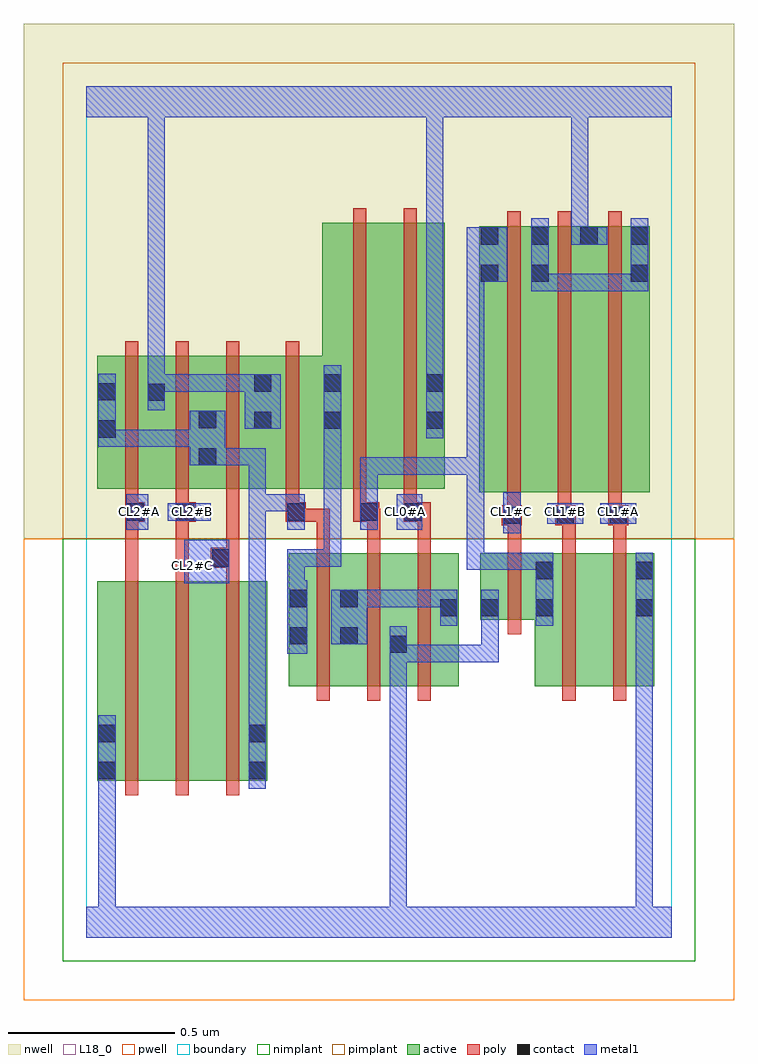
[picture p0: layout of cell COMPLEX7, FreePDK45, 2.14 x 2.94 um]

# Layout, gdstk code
import gdstk
lib = gdstk.Library(unit=1e-6, precision=1e-09)
def R(c, l, rs):  # rectangles x0, y0, x1, y1
    for r in rs: c.add(gdstk.rectangle(r[:2], r[2:], *l))
def A(c, l, x, y, w, h, nx, ny, dx, dy):  # array of equal rectangles
    R(c, l, [(x+i*dx, y+j*dy, x+i*dx+w, y+j*dy+h) for i in range(nx) for j in range(ny)])
active = (1, 0)
pwell = (2, 0)
nwell = (3, 0)
nimplant = (4, 0)
pimplant = (5, 0)
poly = (9, 0)
contact = (10, 0)
metal1 = (11, 0)
L18_0 = (18, 0)
boundary = (235, 0)

complex7 = lib.new_cell('COMPLEX7')
R(complex7, active, [(0.032,0.472,0.092,1.072), (0.032,0.472,0.212,1.072), (0.212,0.472,0.364,1.072), (0.364,0.472,0.544,1.072), (0.484,0.472,0.544,1.072), (0.608,0.756,0.668,1.156), (0.608,0.756,0.82,1.156), (0.76,0.756,0.82,1.156), (0.76,0.756,0.968,1.156), (0.908,0.756,1.12,1.156), (0.908,0.756,0.968,0.912), (1.06,0.756,1.12,1.156), (1.348,0.756,1.408,1.156), (1.348,0.756,1.528,1.156), (1.528,0.756,1.708,1.156), (1.648,0.756,1.708,1.156), (1.184,0.956,1.408,1.156), (1.184,0.956,1.244,1.156), (1.182,1.34,1.242,2.14), (1.182,1.34,1.394,2.14), (1.334,1.34,1.542,2.14), (1.482,1.34,1.694,2.14), (1.634,1.34,1.694,2.14), (0.032,1.35,0.092,1.75), (0.032,1.35,0.24,1.75), (0.18,1.35,0.24,1.75), (0.18,1.35,0.394,1.75), (0.334,1.35,0.56,1.75), (0.5,1.35,0.56,1.75), (0.5,1.35,0.77,1.75), (0.71,1.35,0.77,2.15), (0.71,1.35,0.898,2.15), (0.898,1.35,1.078,2.15), (1.018,1.35,1.078,2.044), (0.334,1.416,0.394,1.644), (1.334,1.686,1.394,2.14), (1.482,1.686,1.542,2.14)])
R(complex7, pwell, [(-0.188,-0.188,1.948,1.2)])
R(complex7, nwell, [(-0.188,1.2,1.948,2.748)])
R(complex7, nimplant, [(-0.072,-0.072,1.832,1.2)])
R(complex7, pimplant, [(-0.072,1.2,1.832,2.632)])
A(complex7, poly, 0.116, 0.428, 0.04, 0.688, 3, 1, 0.152, 0)
A(complex7, poly, 0.692, 0.712, 0.04, 0.488, 3, 1, 0.152, 0)
A(complex7, poly, 0.692, 1.16, 0.04, 0.13, 3, 1, 0.152, 0)
A(complex7, poly, 1.25, 1.24, 0.06, 0.06, 3, 1, 0.16, 0)
A(complex7, poly, 1.266, 1.26, 0.04, 0.076, 3, 1, 0.152, 0)
A(complex7, poly, 1.266, 1.296, 0.04, 0.888, 3, 1, 0.152, 0)
A(complex7, poly, 0.116, 1.306, 0.04, 0.488, 3, 1, 0.152, 0)
R(complex7, poly, [(1.432,0.712,1.472,1.2), (1.584,0.712,1.624,1.2), (1.268,0.912,1.308,1.2), (0.116,1.076,0.156,1.29), (0.268,1.076,0.308,1.29), (0.42,1.076,0.46,1.152), (0.374,1.112,0.46,1.172), (0.42,1.132,0.46,1.172), (0.42,1.132,0.46,1.172), (0.42,1.132,0.46,1.346), (1.268,1.16,1.308,1.28), (1.432,1.16,1.472,1.28), (1.584,1.16,1.624,1.28), (1.268,1.24,1.308,1.28), (1.268,1.24,1.308,1.28), (1.43,1.24,1.47,1.28), (1.43,1.24,1.472,1.28), (0.116,1.25,0.176,1.31), (0.268,1.25,0.308,1.29), (0.268,1.25,0.308,1.29), (0.268,1.25,0.328,1.31), (0.6,1.25,0.66,1.31), (0.62,1.25,0.66,1.29), (0.62,1.25,0.732,1.29), (0.802,1.25,0.88,1.31), (0.84,1.25,0.88,1.29), (0.84,1.25,0.884,1.29), (0.954,1.25,1.036,1.31), (1.57,1.26,1.61,1.3), (1.57,1.26,1.61,1.3), (0.116,1.27,0.156,1.346), (0.116,1.27,0.156,1.31), (0.116,1.27,0.156,1.31), (0.268,1.27,0.308,1.346), (0.6,1.27,0.64,1.346), (0.802,1.27,0.842,1.346), (0.954,1.27,0.994,1.346), (0.954,1.27,0.994,1.31), (0.954,1.27,0.994,1.31), (0.6,1.306,0.64,1.794), (0.802,1.306,0.842,2.194), (0.954,1.306,0.994,2.194)])
A(complex7, contact, 1.254, 1.244, 0.052, 0.052, 3, 1, 0.16, 0)
R(complex7, contact, [(0.036,0.476,0.088,0.528), (0.488,0.476,0.54,0.528), (0.036,0.588,0.088,0.64), (0.488,0.588,0.54,0.64), (0.912,0.856,0.964,0.908), (0.612,0.882,0.664,0.934), (0.764,0.882,0.816,0.934), (1.064,0.966,1.116,1.018), (1.188,0.966,1.24,1.018), (1.352,0.966,1.404,1.018), (1.652,0.966,1.704,1.018), (0.612,0.994,0.664,1.046), (0.764,0.994,0.816,1.046), (1.352,1.078,1.404,1.13), (1.652,1.078,1.704,1.13), (0.378,1.116,0.43,1.168), (0.12,1.254,0.172,1.306), (0.272,1.254,0.324,1.306), (0.604,1.254,0.656,1.306), (0.824,1.254,0.876,1.306), (0.958,1.254,1.01,1.306), (0.338,1.42,0.39,1.472), (0.036,1.504,0.088,1.556), (0.504,1.53,0.556,1.582), (0.714,1.53,0.766,1.582), (1.022,1.53,1.074,1.582), (0.338,1.532,0.39,1.584), (0.184,1.614,0.236,1.666), (0.036,1.616,0.088,1.668), (0.504,1.642,0.556,1.694), (0.714,1.642,0.766,1.694), (1.022,1.642,1.074,1.694), (1.186,1.972,1.238,2.024), (1.338,1.972,1.39,2.024), (1.638,1.972,1.69,2.024), (1.186,2.084,1.238,2.136), (1.338,2.084,1.39,2.136), (1.486,2.084,1.538,2.136), (1.638,2.084,1.69,2.136)])
R(complex7, metal1, [(0,0,1.76,0.092), (0.036,0.04,0.088,0.092), (0.036,0.04,0.088,0.092), (0.036,0.04,0.088,0.092), (0.036,0.04,0.088,0.092), (0.036,0.04,0.088,0.5), (0.912,0.04,0.964,0.092), (0.912,0.04,0.964,0.092), (0.912,0.04,0.964,0.092), (0.912,0.04,0.964,0.092), (0.912,0.04,0.964,0.092), (0.912,0.04,0.964,0.092), (0.912,0.04,0.964,0.092), (0.912,0.04,0.964,0.092), (0.912,0.04,0.964,0.092), (0.912,0.04,0.964,0.092), (0.912,0.04,0.964,0.88), (1.652,0.04,1.704,0.99), (1.652,0.04,1.704,0.092), (1.652,0.04,1.704,0.092), (1.652,0.04,1.704,0.092), (1.652,0.04,1.704,0.092), (1.652,0.04,1.704,0.092), (1.652,0.04,1.704,0.092), (1.652,0.04,1.704,0.092), (1.652,0.04,1.704,0.092), (1.652,0.04,1.704,0.092), (1.652,0.04,1.704,0.092), (1.652,0.04,1.704,0.092), (1.652,0.04,1.704,0.092), (0.036,0.448,0.088,0.668), (0.036,0.448,0.088,0.5), (0.036,0.448,0.088,0.5), (0.036,0.448,0.088,0.5), (0.036,0.448,0.088,0.5), (0.488,0.448,0.54,0.668), (0.488,0.616,0.54,0.668), (0.488,0.616,0.54,0.668), (0.488,0.616,0.54,1.334), (0.912,0.828,0.964,0.88), (0.912,0.828,0.964,0.88), (0.912,0.828,0.964,0.936), (0.912,0.828,1.086,0.88), (1.034,0.828,1.086,0.88), (1.034,0.828,1.086,0.88), (1.034,0.828,1.086,0.88), (1.034,0.828,1.24,0.88), (1.188,0.828,1.24,0.88), (1.188,0.828,1.24,0.88), (1.188,0.828,1.24,0.88), (1.188,0.828,1.24,0.99), (0.604,0.854,0.664,1.074), (0.736,0.882,0.844,1.046), (1.064,0.938,1.116,1.046), (1.188,0.938,1.24,1.046), (1.352,0.938,1.404,1.158), (1.652,0.938,1.704,1.158), (0.792,0.994,0.844,1.046), (0.792,0.994,0.844,1.046), (0.792,0.994,0.964,1.046), (0.912,0.994,0.964,1.046), (0.912,0.994,1.086,1.046), (1.034,0.994,1.086,1.046), (1.034,0.994,1.116,1.046), (0.604,1.022,0.656,1.168), (0.294,1.066,0.43,1.196), (1.144,1.106,1.196,1.158), (1.144,1.106,1.196,1.158), (1.144,1.106,1.196,1.158), (1.144,1.106,1.404,1.158), (1.144,1.106,1.196,1.444), (1.352,1.106,1.404,1.158), (1.352,1.106,1.404,1.158), (0.604,1.116,0.656,1.168), (0.604,1.116,0.656,1.168), (0.604,1.116,0.656,1.168), (0.604,1.116,0.766,1.168), (0.714,1.116,0.766,1.168), (0.714,1.116,0.766,1.554), (1.254,1.216,1.306,1.34), (0.12,1.226,0.186,1.334), (0.604,1.226,0.656,1.334), (0.824,1.226,0.876,1.444), (0.934,1.226,1.01,1.334), (1.386,1.244,1.494,1.306), (1.546,1.244,1.654,1.306), (0.244,1.254,0.374,1.306), (0.488,1.282,0.54,1.334), (0.488,1.282,0.656,1.334), (0.488,1.282,0.54,1.472), (0.604,1.282,0.656,1.334), (0.604,1.282,0.656,1.334), (0.824,1.392,0.964,1.444), (0.912,1.392,0.964,1.444), (0.912,1.392,1.086,1.444), (1.034,1.392,1.086,1.444), (1.034,1.392,1.086,1.444), (1.034,1.392,1.086,1.444), (1.034,1.392,1.196,1.444), (1.144,1.392,1.196,1.444), (1.144,1.392,1.196,2.024), (0.31,1.42,0.418,1.584), (0.366,1.42,0.54,1.472), (0.488,1.42,0.54,1.472), (0.488,1.42,0.54,1.472), (0.488,1.42,0.54,1.472), (0.036,1.476,0.088,1.696), (0.036,1.476,0.088,1.528), (0.036,1.476,0.088,1.528), (0.036,1.476,0.236,1.528), (0.184,1.476,0.236,1.528), (0.184,1.476,0.236,1.528), (0.184,1.476,0.236,1.528), (0.184,1.476,0.362,1.528), (0.714,1.502,0.766,1.722), (0.714,1.502,0.766,1.554), (0.714,1.502,0.766,1.554), (1.022,1.502,1.074,1.722), (0.476,1.53,0.584,1.694), (0.184,1.586,0.236,1.694), (0.184,1.642,0.236,1.694), (0.184,1.642,0.236,1.694), (0.184,1.642,0.418,1.694), (0.184,1.642,0.236,2.52), (0.366,1.642,0.418,1.694), (0.366,1.642,0.418,1.694), (0.366,1.642,0.418,1.694), (0.366,1.642,0.528,1.694), (1.022,1.67,1.074,2.52), (1.338,1.944,1.39,2.164), (1.338,1.944,1.39,1.996), (1.338,1.944,1.39,1.996), (1.338,1.944,1.5,1.996), (1.448,1.944,1.69,1.996), (1.448,1.944,1.5,1.996), (1.448,1.944,1.5,1.996), (1.448,1.944,1.5,1.996), (1.638,1.944,1.69,2.164), (1.144,1.972,1.266,2.136), (1.458,2.084,1.51,2.136), (1.458,2.084,1.51,2.136), (1.458,2.084,1.51,2.136), (1.458,2.084,1.51,2.136), (1.458,2.084,1.51,2.52), (1.458,2.084,1.566,2.136), (0,2.468,1.76,2.56), (0.184,2.468,0.236,2.52), (0.184,2.468,0.236,2.52), (0.184,2.468,0.236,2.52), (0.184,2.468,0.236,2.52), (0.184,2.468,0.236,2.52), (0.184,2.468,0.236,2.52), (0.184,2.468,0.236,2.52), (0.184,2.468,0.236,2.52), (0.184,2.468,0.236,2.52), (0.184,2.468,0.236,2.52), (0.184,2.468,0.236,2.52), (0.184,2.468,0.236,2.52), (0.184,2.468,0.236,2.52), (0.184,2.468,0.236,2.52), (0.184,2.468,0.236,2.52), (0.184,2.468,0.236,2.52), (1.022,2.468,1.074,2.52), (1.022,2.468,1.074,2.52), (1.022,2.468,1.074,2.52), (1.022,2.468,1.074,2.52), (1.022,2.468,1.074,2.52), (1.022,2.468,1.074,2.52), (1.022,2.468,1.074,2.52), (1.022,2.468,1.074,2.52), (1.458,2.468,1.51,2.52), (1.458,2.468,1.51,2.52), (1.458,2.468,1.51,2.52), (1.458,2.468,1.51,2.52)])
A(complex7, L18_0, 1.254, 1.254, 0.052, 0.052, 3, 1, 0.16, 0)
R(complex7, L18_0, [(0,0,1.76,0.092), (0.036,0.04,0.088,0.092), (0.036,0.04,0.088,0.092), (0.036,0.04,0.088,0.092), (0.036,0.04,0.088,0.092), (0.036,0.04,0.088,0.5), (0.912,0.04,0.964,0.092), (0.912,0.04,0.964,0.092), (0.912,0.04,0.964,0.092), (0.912,0.04,0.964,0.092), (0.912,0.04,0.964,0.092), (0.912,0.04,0.964,0.092), (0.912,0.04,0.964,0.092), (0.912,0.04,0.964,0.092), (0.912,0.04,0.964,0.092), (0.912,0.04,0.964,0.092), (0.912,0.04,0.964,0.88), (1.652,0.04,1.704,0.092), (1.652,0.04,1.704,0.092), (1.652,0.04,1.704,0.092), (1.652,0.04,1.704,0.092), (1.652,0.04,1.704,0.092), (1.652,0.04,1.704,0.092), (1.652,0.04,1.704,0.092), (1.652,0.04,1.704,0.092), (1.652,0.04,1.704,0.092), (1.652,0.04,1.704,0.092), (1.652,0.04,1.704,0.092), (1.652,0.04,1.704,0.092), (1.652,0.04,1.704,0.99), (0.036,0.448,0.088,0.5), (0.036,0.448,0.088,0.5), (0.036,0.448,0.088,0.5), (0.036,0.448,0.088,0.5), (0.036,0.448,0.088,0.668), (0.912,0.828,0.964,0.88), (0.912,0.828,0.964,0.88), (0.912,0.828,0.964,0.936), (0.912,0.828,1.086,0.88), (1.034,0.828,1.086,0.88), (1.034,0.828,1.086,0.88), (1.034,0.828,1.086,0.88), (1.034,0.828,1.24,0.88), (1.188,0.828,1.24,0.88), (1.188,0.828,1.24,0.88), (1.188,0.828,1.24,0.88), (1.188,0.828,1.24,0.99), (1.188,0.938,1.24,1.046), (1.652,0.938,1.704,1.158), (0.294,1.066,0.43,1.196), (0.294,1.094,0.346,1.146), (1.254,1.216,1.306,1.34), (0.12,1.226,0.186,1.334), (0.934,1.226,1.01,1.334), (1.386,1.244,1.494,1.306), (1.546,1.244,1.654,1.306), (0.134,1.254,0.186,1.306), (0.244,1.254,0.374,1.306), (0.294,1.254,0.346,1.306), (0.934,1.254,0.986,1.306), (1.022,1.502,1.074,1.722), (0.476,1.53,0.584,1.694), (0.184,1.586,0.236,1.694), (0.184,1.642,0.236,1.694), (0.184,1.642,0.236,1.694), (0.184,1.642,0.236,2.52), (0.184,1.642,0.418,1.694), (0.366,1.642,0.418,1.694), (0.366,1.642,0.418,1.694), (0.366,1.642,0.418,1.694), (0.366,1.642,0.528,1.694), (1.022,1.67,1.074,2.52), (1.458,2.084,1.51,2.136), (1.458,2.084,1.51,2.136), (1.458,2.084,1.51,2.136), (1.458,2.084,1.51,2.136), (1.458,2.084,1.566,2.136), (1.458,2.084,1.51,2.52), (0,2.468,1.76,2.56), (0.184,2.468,0.236,2.52), (0.184,2.468,0.236,2.52), (0.184,2.468,0.236,2.52), (0.184,2.468,0.236,2.52), (0.184,2.468,0.236,2.52), (0.184,2.468,0.236,2.52), (0.184,2.468,0.236,2.52), (0.184,2.468,0.236,2.52), (0.184,2.468,0.236,2.52), (0.184,2.468,0.236,2.52), (0.184,2.468,0.236,2.52), (0.184,2.468,0.236,2.52), (0.184,2.468,0.236,2.52), (0.184,2.468,0.236,2.52), (0.184,2.468,0.236,2.52), (0.184,2.468,0.236,2.52), (1.022,2.468,1.074,2.52), (1.022,2.468,1.074,2.52), (1.022,2.468,1.074,2.52), (1.022,2.468,1.074,2.52), (1.022,2.468,1.074,2.52), (1.022,2.468,1.074,2.52), (1.022,2.468,1.074,2.52), (1.022,2.468,1.074,2.52), (1.458,2.468,1.51,2.52), (1.458,2.468,1.51,2.52), (1.458,2.468,1.51,2.52), (1.458,2.468,1.51,2.52)])
R(complex7, boundary, [(0,0,1.76,2.56)])
complex7.add(gdstk.Label('CL0#A', (0.96,1.28), layer=11, texttype=0))
complex7.add(gdstk.Label('CL1#A', (1.6,1.28), layer=11, texttype=0))
complex7.add(gdstk.Label('CL1#B', (1.44,1.28), layer=11, texttype=0))
complex7.add(gdstk.Label('CL1#C', (1.28,1.28), layer=11, texttype=0))
complex7.add(gdstk.Label('CL2#A', (0.16,1.28), layer=11, texttype=0))
complex7.add(gdstk.Label('CL2#B', (0.32,1.28), layer=11, texttype=0))
complex7.add(gdstk.Label('CL2#C', (0.32,1.12), layer=11, texttype=0))

lib.write_gds('COMPLEX7.gds')
